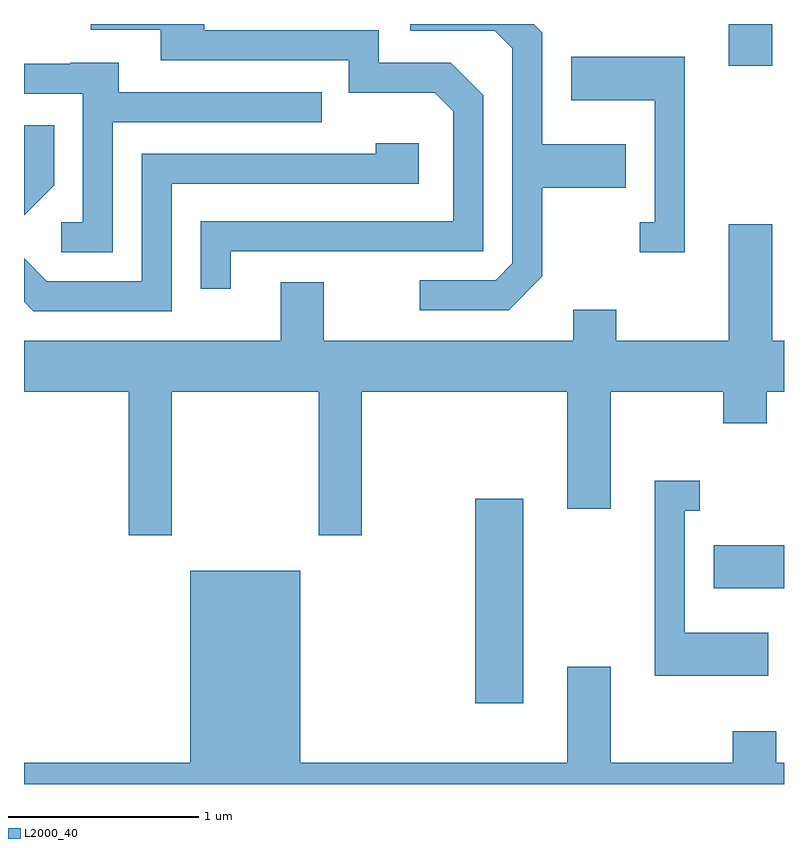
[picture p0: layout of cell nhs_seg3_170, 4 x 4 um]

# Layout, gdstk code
import gdstk
lib = gdstk.Library(unit=1e-6, precision=1e-09)
def R(c, l, rs):  # rectangles x0, y0, x1, y1
    for r in rs: c.add(gdstk.rectangle(r[:2], r[2:], *l))
def P(c, l, *ps):  # polygons
    for p in ps: c.add(gdstk.Polygon(p, *l))
L2000_40 = (2000, 40)

nhs_seg3_170 = lib.new_cell('nhs_seg3_170')
R(nhs_seg3_170, L2000_40, [(191.986,1184.316,192.239,1185.394), (193.241,1184.921,193.611,1185.149), (193.321,1187.671,193.549,1187.892)])
P(nhs_seg3_170, L2000_40, [(192.339,1186.564),(192.339,1187.031),(192.779,1187.031),(192.779,1187.259),(192.339,1187.259),(192.339,1187.847),(192.294,1187.892),(191.643,1187.892),(191.643,1187.856),(192.089,1187.856),(192.181,1187.764),(192.181,1186.632),(192.094,1186.544),(191.693,1186.544),(191.693,1186.386),(192.162,1186.386)],
  [(190.699,1186.696),(192.029,1186.696),(192.029,1187.517),(191.857,1187.689),(191.479,1187.689),(191.479,1187.859),(190.559,1187.859),(190.559,1187.892),(189.963,1187.892),(189.963,1187.861),(190.331,1187.861),(190.331,1187.701),(191.321,1187.701),(191.321,1187.531),(191.774,1187.531),(191.871,1187.434),(191.871,1186.854),(190.541,1186.854),(190.541,1186.498),(190.699,1186.498)],
  [(193.089,1187.719),(192.491,1187.719),(192.491,1187.491),(192.931,1187.491),(192.931,1186.849),(192.853,1186.849),(192.853,1186.691),(193.089,1186.691)],
  [(190.079,1187.376),(191.178,1187.376),(191.178,1187.534),(190.109,1187.534),(190.109,1187.689),(189.855,1187.689),(189.855,1187.684),(189.611,1187.684),(189.611,1187.526),(189.921,1187.526),(189.921,1186.849),(189.808,1186.849),(189.808,1186.691),(190.079,1186.691)],
  [(189.769,1187.044),(189.769,1187.358),(189.611,1187.358),(189.611,1186.885)],
  [(190.389,1187.051),(191.689,1187.051),(191.689,1187.264),(191.461,1187.264),(191.461,1187.209),(190.231,1187.209),(190.231,1186.539),(189.732,1186.539),(189.611,1186.66),(189.611,1186.429),(189.659,1186.381),(190.389,1186.381)],
  [(190.389,1185.956),(191.161,1185.956),(191.161,1185.201),(191.389,1185.201),(191.389,1185.956),(192.471,1185.956),(192.471,1185.341),(192.699,1185.341),(192.699,1185.956),(193.291,1185.956),(193.291,1185.791),(193.519,1185.791),(193.519,1185.956),(193.611,1185.956),(193.611,1186.224),(193.549,1186.224),(193.549,1186.839),(193.321,1186.839),(193.321,1186.224),(192.729,1186.224),(192.729,1186.389),(192.501,1186.389),(192.501,1186.224),(191.189,1186.224),(191.189,1186.534),(190.961,1186.534),(190.961,1186.224),(189.611,1186.224),(189.611,1185.956),(190.161,1185.956),(190.161,1185.201),(190.389,1185.201)],
  [(193.529,1184.689),(193.089,1184.689),(193.089,1185.331),(193.168,1185.331),(193.168,1185.489),(192.931,1185.489),(192.931,1184.461),(193.529,1184.461)],
  [(193.611,1184.004),(193.569,1184.004),(193.569,1184.169),(193.341,1184.169),(193.341,1184.004),(192.699,1184.004),(192.699,1184.509),(192.471,1184.509),(192.471,1184.004),(191.064,1184.004),(191.064,1185.014),(190.486,1185.014),(190.486,1184.004),(189.611,1184.004),(189.611,1183.892),(193.611,1183.892)])

lib.write_gds('nhs_seg3_170.gds')
